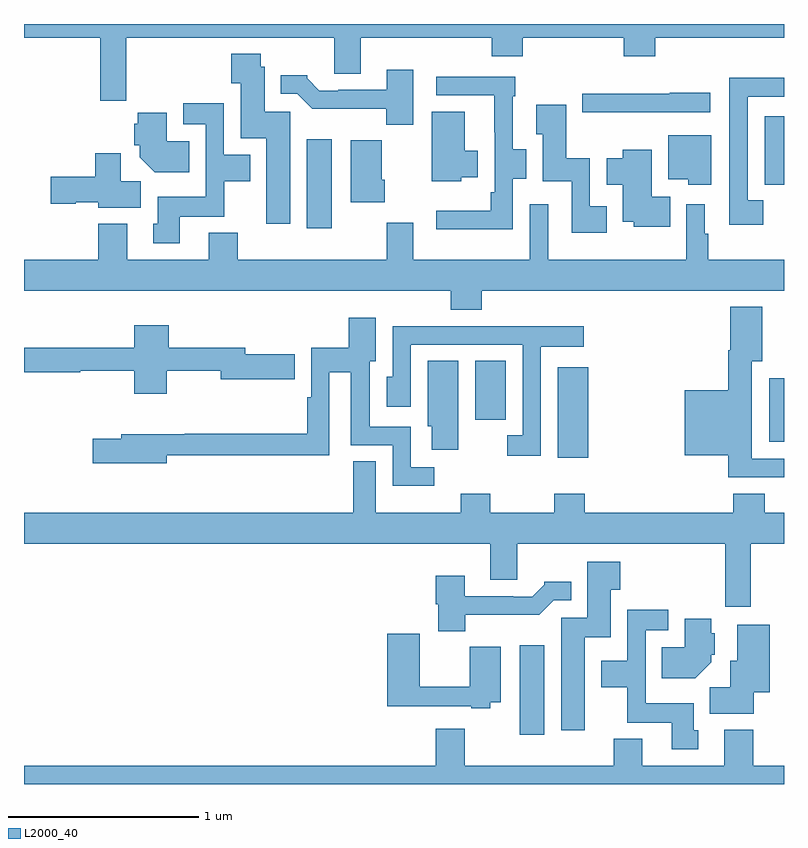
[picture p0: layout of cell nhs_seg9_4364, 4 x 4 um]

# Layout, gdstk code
import gdstk
lib = gdstk.Library(unit=1e-6, precision=1e-09)
def R(c, l, rs):  # rectangles x0, y0, x1, y1
    for r in rs: c.add(gdstk.rectangle(r[:2], r[2:], *l))
def P(c, l, *ps):  # polygons
    for p in ps: c.add(gdstk.Polygon(p, *l))
L2000_40 = (2000, 40)

nhs_seg9_4364 = lib.new_cell('nhs_seg9_4364')
R(nhs_seg9_4364, L2000_40, [(363.608,1184.76,363.739,1185.229), (363.809,1186.218,363.97,1186.693), (364.922,1186.301,365,1186.636), (363.374,1186.416,363.535,1186.727), (362.489,1187.424,362.62,1187.893), (364.898,1187.653,365,1188.014)])
P(nhs_seg9_4364, L2000_40, [(363.626,1188.428),(364.157,1188.428),(364.157,1188.329),(364.322,1188.329),(364.322,1188.428),(365,1188.428),(365,1188.5),(361,1188.5),(361,1188.428),(361.402,1188.428),(361.402,1188.096),(361.538,1188.096),(361.538,1188.428),(362.633,1188.428),(362.633,1188.238),(362.773,1188.238),(362.773,1188.428),(363.461,1188.428),(363.461,1188.329),(363.626,1188.329)],
  [(362.401,1188.039),(362.266,1188.039),(362.266,1188.276),(362.247,1188.276),(362.247,1188.343),(362.09,1188.343),(362.09,1188.187),(362.141,1188.187),(362.141,1187.9),(362.276,1187.9),(362.276,1187.448),(362.401,1187.448)],
  [(363.049,1188.259),(362.909,1188.259),(362.909,1188.153),(362.653,1188.153),(362.653,1188.15),(362.554,1188.15),(362.49,1188.214),(362.49,1188.229),(362.351,1188.229),(362.351,1188.132),(362.439,1188.132),(362.518,1188.054),(362.907,1188.054),(362.907,1187.969),(363.049,1187.969)],
  [(363.573,1187.686),(363.643,1187.686),(363.643,1187.841),(363.573,1187.841),(363.573,1188.119),(363.586,1188.119),(363.586,1188.222),(363.171,1188.222),(363.171,1188.126),(363.476,1188.126),(363.476,1187.929),(363.477,1187.929),(363.477,1187.614),(363.457,1187.614),(363.457,1187.518),(363.171,1187.518),(363.171,1187.42),(363.573,1187.42)],
  [(364.892,1187.572),(364.809,1187.572),(364.809,1188.116),(365,1188.116),(365,1188.217),(364.713,1188.217),(364.713,1187.444),(364.892,1187.444)],
  [(364.295,1188.036),(364.612,1188.036),(364.612,1188.137),(364.399,1188.137),(364.399,1188.134),(363.939,1188.134),(363.939,1188.035),(364.295,1188.035)],
  [(361.819,1187.486),(362.055,1187.486),(362.055,1187.672),(362.191,1187.672),(362.191,1187.812),(362.052,1187.812),(362.052,1188.082),(361.839,1188.082),(361.839,1187.973),(361.956,1187.973),(361.956,1187.59),(361.703,1187.59),(361.703,1187.448),(361.679,1187.448),(361.679,1187.346),(361.819,1187.346)],
  [(364.066,1187.542),(363.978,1187.542),(363.978,1187.794),(363.853,1187.794),(363.853,1188.076),(363.695,1188.076),(363.695,1187.92),(363.731,1187.92),(363.731,1187.672),(363.882,1187.672),(363.882,1187.402),(364.066,1187.402)],
  [(363.3,1187.693),(363.388,1187.693),(363.388,1187.833),(363.319,1187.833),(363.319,1188.037),(363.146,1188.037),(363.146,1187.672),(363.3,1187.672)],
  [(361.871,1187.884),(361.75,1187.884),(361.75,1188.034),(361.598,1188.034),(361.598,1187.976),(361.58,1187.976),(361.58,1187.862),(361.61,1187.862),(361.61,1187.798),(361.688,1187.72),(361.871,1187.72)],
  [(364.618,1187.914),(364.391,1187.914),(364.391,1187.684),(364.496,1187.684),(364.496,1187.654),(364.618,1187.654)],
  [(362.899,1187.679),(362.882,1187.679),(362.882,1187.887),(362.72,1187.887),(362.72,1187.561),(362.899,1187.561)],
  [(364.4,1187.59),(364.303,1187.59),(364.303,1187.839),(364.151,1187.839),(364.151,1187.794),(364.067,1187.794),(364.067,1187.654),(364.151,1187.654),(364.151,1187.459),(364.209,1187.459),(364.209,1187.432),(364.4,1187.432)],
  [(361.615,1187.672),(361.51,1187.672),(361.51,1187.821),(361.376,1187.821),(361.376,1187.696),(361.14,1187.696),(361.14,1187.554),(361.272,1187.554),(361.272,1187.561),(361.392,1187.561),(361.392,1187.534),(361.615,1187.534)],
  [(363.41,1187.096),(365,1187.096),(365,1187.26),(364.601,1187.26),(364.601,1187.397),(364.582,1187.397),(364.582,1187.551),(364.485,1187.551),(364.485,1187.26),(363.759,1187.26),(363.759,1187.551),(363.663,1187.551),(363.663,1187.26),(363.049,1187.26),(363.049,1187.455),(362.909,1187.455),(362.909,1187.26),(362.126,1187.26),(362.126,1187.401),(361.973,1187.401),(361.973,1187.26),(361.543,1187.26),(361.543,1187.449),(361.391,1187.449),(361.391,1187.26),(361,1187.26),(361,1187.096),(363.245,1187.096),(363.245,1186.997),(363.41,1186.997)],
  [(365,1186.212),(364.831,1186.212),(364.831,1186.724),(364.885,1186.724),(364.885,1187.011),(364.718,1187.011),(364.718,1186.784),(364.706,1186.784),(364.706,1186.573),(364.478,1186.573),(364.478,1186.229),(364.706,1186.229),(364.706,1186.115),(365,1186.115)],
  [(363.16,1186.167),(363.036,1186.167),(363.036,1186.38),(362.821,1186.38),(362.821,1186.725),(362.851,1186.725),(362.851,1186.954),(362.708,1186.954),(362.708,1186.795),(362.511,1186.795),(362.511,1186.535),(362.491,1186.535),(362.491,1186.343),(361.846,1186.343),(361.846,1186.34),(361.511,1186.34),(361.511,1186.317),(361.362,1186.317),(361.362,1186.187),(361.75,1186.187),(361.75,1186.23),(362.607,1186.23),(362.607,1186.666),(362.72,1186.666),(362.72,1186.284),(362.94,1186.284),(362.94,1186.07),(363.16,1186.07)],
  [(361.75,1186.674),(362.036,1186.674),(362.036,1186.631),(362.425,1186.631),(362.425,1186.761),(362.164,1186.761),(362.164,1186.795),(361.763,1186.795),(361.763,1186.915),(361.58,1186.915),(361.58,1186.795),(361,1186.795),(361,1186.666),(361.296,1186.666),(361.296,1186.674),(361.58,1186.674),(361.58,1186.554),(361.75,1186.554)],
  [(363.72,1186.802),(363.946,1186.802),(363.946,1186.91),(363.527,1186.91),(363.527,1186.908),(363.161,1186.908),(363.161,1186.91),(362.94,1186.91),(362.94,1186.644),(362.909,1186.644),(362.909,1186.485),(363.036,1186.485),(363.036,1186.812),(363.624,1186.812),(363.624,1186.335),(363.543,1186.335),(363.543,1186.227),(363.72,1186.227)],
  [(363.286,1186.727),(363.125,1186.727),(363.125,1186.383),(363.146,1186.383),(363.146,1186.26),(363.286,1186.26)],
  [(364.733,1186.027),(364.733,1185.928),(363.95,1185.928),(363.95,1186.027),(363.79,1186.027),(363.79,1185.928),(363.453,1185.928),(363.453,1186.027),(363.298,1186.027),(363.298,1185.928),(362.851,1185.928),(362.851,1186.199),(362.733,1186.199),(362.733,1185.928),(361,1185.928),(361,1185.764),(363.455,1185.764),(363.455,1185.574),(363.595,1185.574),(363.595,1185.764),(364.69,1185.764),(364.69,1185.432),(364.826,1185.432),(364.826,1185.764),(365,1185.764),(365,1185.928),(364.898,1185.928),(364.898,1186.027)],
  [(363.952,1185.272),(364.087,1185.272),(364.087,1185.523),(364.139,1185.523),(364.139,1185.67),(363.965,1185.67),(363.965,1185.375),(363.827,1185.375),(363.827,1184.784),(363.952,1184.784)],
  [(363.322,1185.39),(363.711,1185.39),(363.789,1185.468),(363.88,1185.468),(363.88,1185.565),(363.738,1185.565),(363.738,1185.55),(363.674,1185.486),(363.575,1185.486),(363.575,1185.489),(363.319,1185.489),(363.319,1185.595),(363.167,1185.595),(363.167,1185.447),(363.179,1185.447),(363.179,1185.305),(363.322,1185.305)],
  [(364.549,1184.784),(364.525,1184.784),(364.525,1184.926),(364.272,1184.926),(364.272,1185.309),(364.39,1185.309),(364.39,1185.418),(364.176,1185.418),(364.176,1185.148),(364.037,1185.148),(364.037,1185.008),(364.174,1185.008),(364.174,1184.822),(364.409,1184.822),(364.409,1184.682),(364.549,1184.682)],
  [(364.618,1185.141),(364.618,1185.18),(364.636,1185.18),(364.636,1185.294),(364.618,1185.294),(364.618,1185.37),(364.478,1185.37),(364.478,1185.22),(364.357,1185.22),(364.357,1185.056),(364.534,1185.056)],
  [(364.84,1184.984),(364.925,1184.984),(364.925,1185.337),(364.754,1185.337),(364.754,1185.148),(364.718,1185.148),(364.718,1185.008),(364.61,1185.008),(364.61,1184.87),(364.84,1184.87)],
  [(363.453,1184.93),(363.508,1184.93),(363.508,1185.223),(363.346,1185.223),(363.346,1185.011),(363.082,1185.011),(363.082,1185.292),(362.912,1185.292),(362.912,1184.91),(363.353,1184.91),(363.353,1184.898),(363.453,1184.898)],
  [(364.255,1184.737),(364.103,1184.737),(364.103,1184.596),(363.319,1184.596),(363.319,1184.791),(363.167,1184.791),(363.167,1184.596),(361,1184.596),(361,1184.5),(365,1184.5),(365,1184.596),(364.838,1184.596),(364.838,1184.785),(364.685,1184.785),(364.685,1184.596),(364.255,1184.596)])

lib.write_gds('nhs_seg9_4364.gds')
